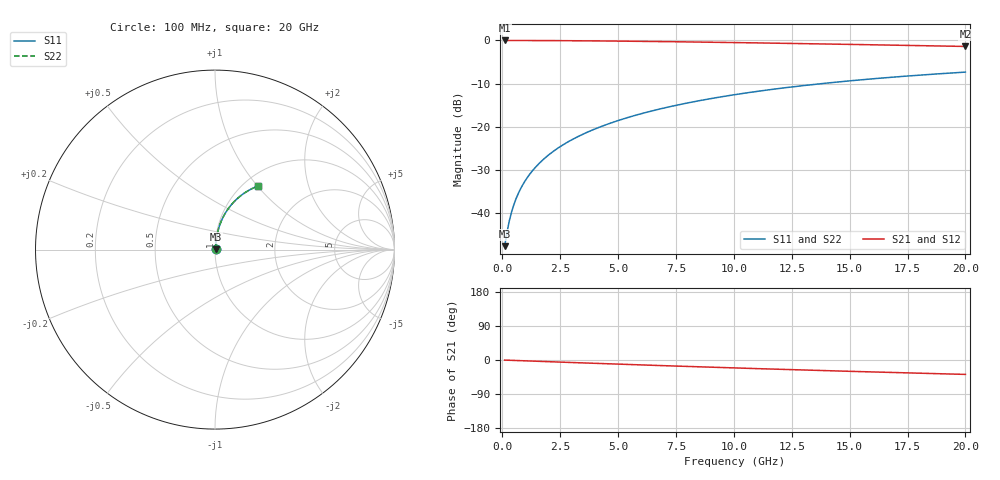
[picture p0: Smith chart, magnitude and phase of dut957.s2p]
! Touchstone file exported from HFSS 2024.1.0
!  File:  C:/UserFiles/LocalFiles/RDL_TSV_Batchsim/temp_RDL_top_957_1779938282.aedt
!  Generated:  11:20:32 AM May 28, 2026
!  Design:  RDL_top
!  Project:  temp_RDL_top_957_1779938282
!  Setup:  Setup1
!  Solution:  Sweep
! Variables:
!  dtsv = 10.80580581um
!  hbump = 3um
!  htsv = 79.73um
!  ldown = 100um
!  lrdl = 457.76um
!  p = 40
!  p1 = 57.62um
!  rhole = 1um
!  t = 450um
!  tdown = 3.915915916um
!  trdl = 3.17um
!  wdown = 15.38538539um
!  wrdl = 15.84um
# GHz S MA R 50.000000
! Terminal data exported
! Port[1] = Box2_T1
! Port[2] = Box2_T2
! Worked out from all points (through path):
!   200 points, 100 MHz to 20 GHz, reference 50 ohm
!   highest |S21| = -0.03 dB at 100 MHz (marker M1); lowest = -1.4 dB at 20 GHz (marker M2)
!   group delay of S21, straight-line fit = 5.27 ps
!   lowest |S11| = -47.6 dB at 100 MHz (marker M3), VSWR 1.01, Z = 50.3 + j0.248 ohm
!   |S11| at or under -10 dB: start of sweep to 13.8 GHz
!   |S22| runs from -47.6 to -7.3 dB; largest |S21 - S12| = 3e-15
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0.1  0.004183 36.1  0.9966 -0.2  0.9966 -0.2  0.004183 36.1
! Gamma 0 0 0 0
! Port Impedance 50 0 50 0
0.2  0.006003 54.8  0.9965 -0.5  0.9965 -0.5  0.006003 54.8
0.3  0.008141 64.0  0.9964 -0.7  0.9964 -0.7  0.008141 64.0
0.4  0.01037 69.1  0.9963 -0.9  0.9963 -0.9  0.01037 69.1
0.5  0.01264 72.4  0.9961 -1.1  0.9961 -1.1  0.01264 72.4
0.6  0.01492 74.6  0.996 -1.4  0.996 -1.4  0.01492 74.6
0.8  0.0195 77.5  0.9957 -1.8  0.9957 -1.8  0.0195 77.5
1.1  0.02641 79.8  0.9952 -2.5  0.9952 -2.5  0.02641 79.8
1.5  0.0357 81.4  0.9944 -3.3  0.9944 -3.3  0.0357 81.4
1.8  0.0427 82.0  0.9937 -4.0  0.9937 -4.0  0.0427 82.0
2.1  0.04972 82.3  0.9929 -4.7  0.9929 -4.7  0.04972 82.3
2.7  0.06382 82.4  0.9909 -6.0  0.9909 -6.0  0.06382 82.4
3.5  0.0827 81.9  0.9877 -7.7  0.9877 -7.7  0.0827 81.9
4.2  0.09929 81.3  0.9842 -9.2  0.9842 -9.2  0.09928 81.3
5  0.1183 80.3  0.9798 -10.9  0.9798 -10.9  0.1183 80.3
5.9  0.1396 79.1  0.9742 -12.8  0.9742 -12.8  0.1396 79.1
6.8  0.1609 77.7  0.968 -14.6  0.968 -14.6  0.1609 77.7
8.4  0.1982 75.1  0.9559 -17.8  0.9559 -17.8  0.1982 75.1
10.1  0.237 72.3  0.9419 -21.1  0.9419 -21.1  0.237 72.2
13.4  0.3081 66.6  0.9125 -27.1  0.9125 -27.1  0.308 66.5
16.7  0.3724 61.0  0.8814 -32.7  0.8814 -32.7  0.3724 61.0
20  0.4294 55.8  0.8498 -38.0  0.8498 -38.0  0.4294 55.7
